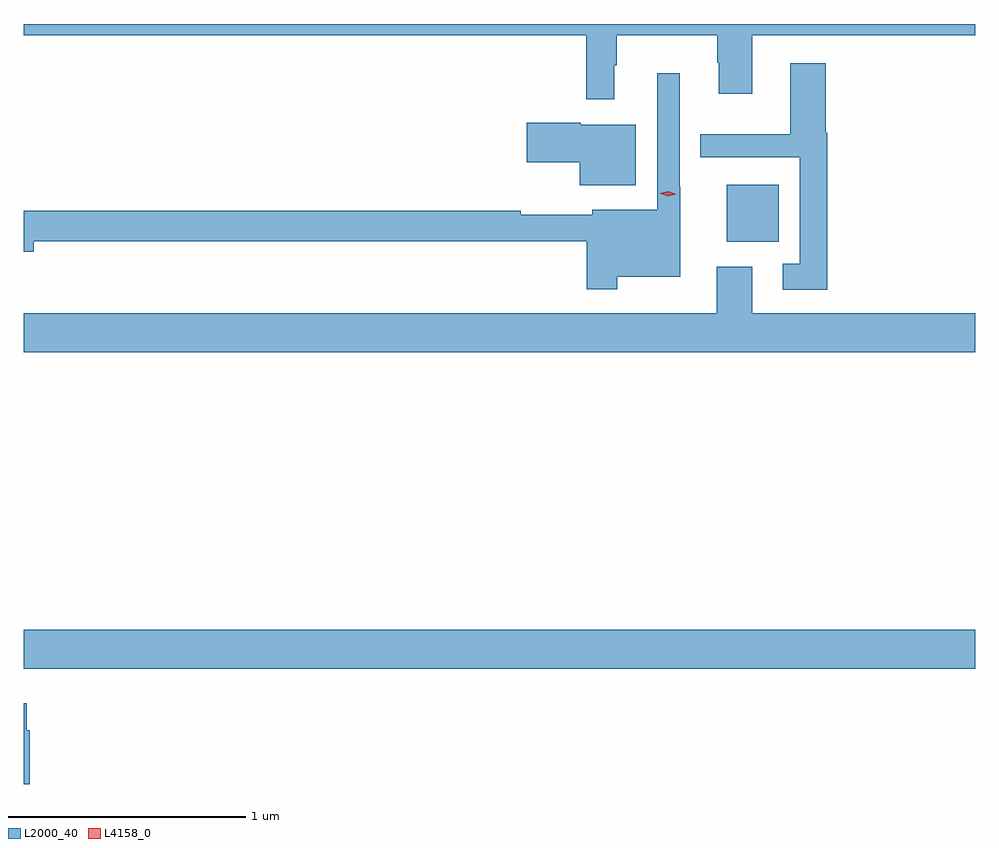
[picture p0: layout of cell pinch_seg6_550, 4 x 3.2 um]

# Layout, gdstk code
import gdstk
lib = gdstk.Library(unit=1e-6, precision=1e-09)
def R(c, l, rs):  # rectangles x0, y0, x1, y1
    for r in rs: c.add(gdstk.rectangle(r[:2], r[2:], *l))
def P(c, l, *ps):  # polygons
    for p in ps: c.add(gdstk.Polygon(p, *l))
L2000_40 = (2000, 40)
L4158_0 = (4158, 0)

pinch_seg6_550 = lib.new_cell('pinch_seg6_550')
R(pinch_seg6_550, L2000_40, [(590.368,995.288,594.368,995.452), (593.324,997.085,593.542,997.324)])
P(pinch_seg6_550, L2000_40, [(592.85,997.826),(592.861,997.826),(592.861,997.952),(593.284,997.952),(593.284,997.838),(593.291,997.838),(593.291,997.707),(593.431,997.707),(593.431,997.952),(594.368,997.952),(594.368,998),(590.368,998),(590.368,997.952),(592.732,997.952),(592.732,997.683),(592.85,997.683)],
  [(593.747,997.543),(593.741,997.543),(593.741,997.834),(593.591,997.834),(593.591,997.537),(593.212,997.537),(593.212,997.44),(593.631,997.44),(593.631,996.991),(593.559,996.991),(593.559,996.882),(593.747,996.882)],
  [(592.864,996.938),(593.129,996.938),(593.129,997.315),(593.127,997.315),(593.127,997.792),(593.031,997.792),(593.031,997.219),(592.758,997.219),(592.758,997.197),(592.458,997.197),(592.458,997.214),(590.368,997.214),(590.368,997.043),(590.41,997.043),(590.41,997.086),(592.735,997.086),(592.735,996.885),(592.864,996.885)],
  [(592.942,997.576),(592.71,997.576),(592.71,997.584),(592.482,997.584),(592.482,997.418),(592.706,997.418),(592.706,997.322),(592.942,997.322)],
  [(594.368,996.784),(593.431,996.784),(593.431,996.979),(593.282,996.979),(593.282,996.784),(590.368,996.784),(590.368,996.62),(594.368,996.62)],
  [(590.393,995.03),(590.38,995.03),(590.38,995.143),(590.368,995.143),(590.368,994.804),(590.393,994.804)])
P(pinch_seg6_550, L4158_0, [(593.076,997.276),(593.041,997.288),(593.041,997.288),(593.041,997.288),(593.077,997.296),(593.112,997.284),(593.112,997.284),(593.112,997.284)])

lib.write_gds('pinch_seg6_550.gds')
